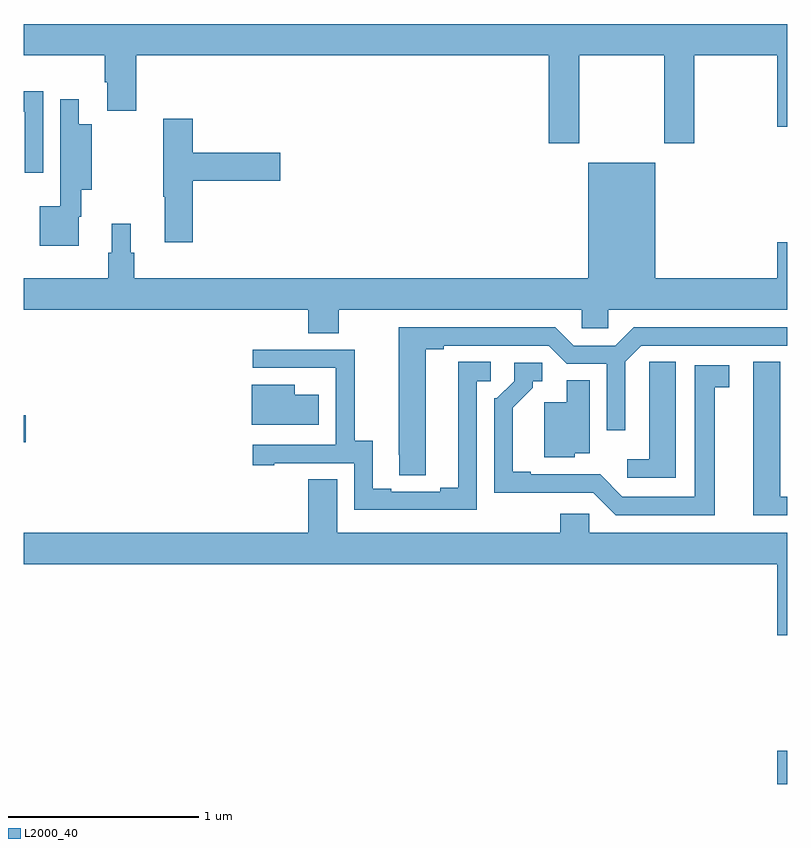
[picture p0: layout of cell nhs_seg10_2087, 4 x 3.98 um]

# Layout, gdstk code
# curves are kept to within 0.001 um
import gdstk
lib = gdstk.Library(unit=1e-6, precision=1e-09)
def R(c, l, rs):  # rectangles x0, y0, x1, y1
    for r in rs: c.add(gdstk.rectangle(r[:2], r[2:], *l))
def P(c, l, *ps):  # polygons
    for p in ps: c.add(gdstk.Polygon(p, *l))
L2000_40 = (2000, 40)

nhs_seg10_2087 = lib.new_cell('nhs_seg10_2087')
R(nhs_seg10_2087, L2000_40, [(224.948,1296.5,225,1296.673), (221,1298.29,221.011,1298.432)])
P(nhs_seg10_2087, L2000_40, [(221,1300.316),(221.426,1300.316),(221.426,1300.174),(221.438,1300.174),(221.438,1300.026),(221.591,1300.026),(221.591,1300.316),(223.751,1300.316),(223.751,1299.855),(223.911,1299.855),(223.911,1300.316),(224.356,1300.316),(224.356,1299.855),(224.511,1299.855),(224.511,1300.316),(224.948,1300.316),(224.948,1299.942),(225,1299.942),(225,1300.48),(221,1300.48)],
  [(221.103,1300.128),(221,1300.128),(221,1300.02),(221.006,1300.02),(221.006,1299.702),(221.103,1299.702)],
  [(221.289,1299.47),(221.302,1299.47),(221.302,1299.611),(221.358,1299.611),(221.358,1299.955),(221.29,1299.955),(221.29,1300.087),(221.192,1300.087),(221.192,1299.851),(221.191,1299.851),(221.191,1299.526),(221.084,1299.526),(221.084,1299.32),(221.289,1299.32)],
  [(221.885,1299.659),(222.343,1299.659),(222.343,1299.806),(221.885,1299.806),(221.885,1299.985),(221.731,1299.985),(221.731,1299.575),(221.738,1299.575),(221.738,1299.336),(221.885,1299.336)],
  [(222.651,1298.984),(223.923,1298.984),(223.923,1298.886),(224.061,1298.886),(224.061,1298.984),(225,1298.984),(225,1299.337),(224.948,1299.337),(224.948,1299.148),(224.308,1299.148),(224.308,1299.754),(223.958,1299.754),(223.958,1299.148),(221.579,1299.148),(221.579,1299.282),(221.56,1299.282),(221.56,1299.433),(221.462,1299.433),(221.462,1299.282),(221.443,1299.282),(221.443,1299.148),(221,1299.148),(221,1298.984),(222.491,1298.984),(222.491,1298.86),(222.651,1298.86)],
  [(223.105,1298.776),(223.201,1298.776),(223.201,1298.796),(223.749,1298.796),(223.845,1298.7),(224.055,1298.7),(224.055,1298.352),(224.151,1298.352),(224.151,1298.712),(224.235,1298.796),(225,1298.796),(225,1298.892),(224.195,1298.892),(224.099,1298.796),(223.881,1298.796),(223.785,1298.892),(222.965,1298.892),(222.966,1298.116),(223.105,1298.116)],
  [(223.374,1298.61),(223.447,1298.61),(223.447,1298.711),(223.277,1298.711),(223.277,1298.051),(223.181,1298.051),(223.181,1298.031),(222.925,1298.031),(222.925,1298.046),(222.829,1298.046),(222.829,1298.297),(222.735,1298.297),(222.735,1298.775),(222.201,1298.775),(222.201,1298.679),(222.635,1298.679),(222.635,1298.678),(222.636,1298.678),(222.636,1298.277),(222.201,1298.277),(222.201,1298.169),(222.313,1298.169),(222.313,1298.181),(222.732,1298.181),(222.732,1297.935),(223.374,1297.935)],
  [(224.416,1298.711),(224.277,1298.711),(224.277,1298.603),(224.276,1298.603),(224.276,1298.2),(224.16,1298.2),(224.16,1298.103),(224.416,1298.103)],
  [(225,1298.004),(224.962,1298.004),(224.962,1298.71),(224.822,1298.71),(224.822,1297.908),(225,1297.908)],
  [(224.62,1298.578),(224.695,1298.578),(224.695,1298.694),(224.516,1298.694),(224.516,1298.004),(224.136,1298.004),(224.019,1298.121),(223.657,1298.121),(223.657,1298.134),(223.561,1298.134),(223.561,1298.47),(223.666,1298.575),(223.666,1298.61),(223.717,1298.61),(223.717,1298.706),(223.569,1298.706),(223.569,1298.61),(223.479,1298.52),(223.464,1298.52),(223.464,1298.024),(223.983,1298.025),(224.1,1297.908),(224.62,1297.908)],
  [(223.887,1298.231),(223.966,1298.231),(223.966,1298.615),(223.844,1298.615),(223.844,1298.5),(223.727,1298.5),(223.727,1298.21),(223.887,1298.21)],
  [(222.547,1298.539),(222.421,1298.539),(222.421,1298.59),(222.194,1298.59),(222.194,1298.381),(222.547,1298.381)],
  [(225,1297.816),(223.962,1297.816),(223.962,1297.914),(223.811,1297.914),(223.811,1297.816),(222.643,1297.816),(222.643,1298.096),(222.491,1298.096),(222.491,1297.816),(221,1297.816),(221,1297.652),(224.948,1297.652),(224.948,1297.278),(225,1297.278)])

lib.write_gds('nhs_seg10_2087.gds')
